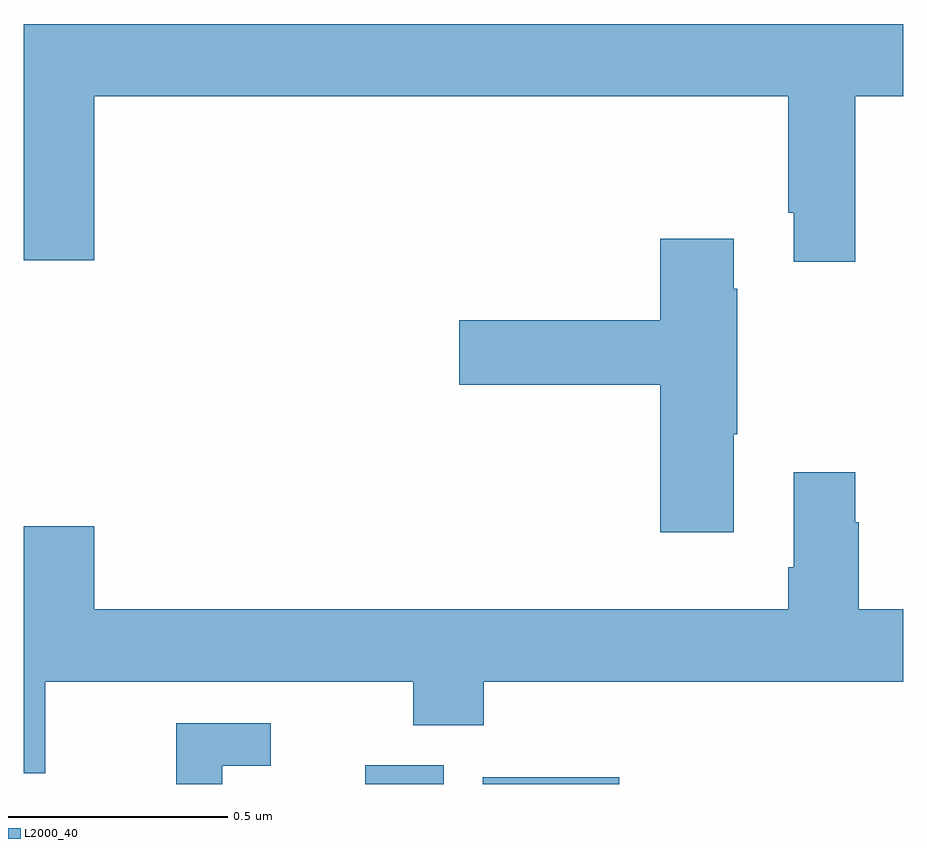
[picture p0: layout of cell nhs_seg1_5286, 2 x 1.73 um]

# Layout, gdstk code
import gdstk
lib = gdstk.Library(unit=1e-6, precision=1e-09)
def R(c, l, rs):  # rectangles x0, y0, x1, y1
    for r in rs: c.add(gdstk.rectangle(r[:2], r[2:], *l))
def P(c, l, *ps):  # polygons
    for p in ps: c.add(gdstk.Polygon(p, *l))
L2000_40 = (2000, 40)

nhs_seg1_5286 = lib.new_cell('nhs_seg1_5286')
R(nhs_seg1_5286, L2000_40, [(177.776,518.199,177.955,518.242), (178.044,518.199,178.354,518.214)])
P(nhs_seg1_5286, L2000_40, [(178.891,519.764),(179,519.764),(179,519.928),(177,519.928),(177,519.39),(177.16,519.39),(177.16,519.764),(178.739,519.764),(178.739,519.499),(178.751,519.499),(178.751,519.387),(178.891,519.387)],
  [(178.615,518.995),(178.623,518.995),(178.623,519.326),(178.615,519.326),(178.615,519.439),(178.448,519.439),(178.448,519.254),(177.99,519.254),(177.99,519.107),(178.448,519.107),(178.448,518.772),(178.615,518.772)],
  [(177.049,518.432),(177.886,518.432),(177.886,518.333),(178.046,518.333),(178.046,518.432),(179,518.432),(179,518.596),(178.899,518.596),(178.899,518.795),(178.891,518.795),(178.891,518.908),(178.751,518.908),(178.751,518.692),(178.739,518.692),(178.739,518.596),(177.16,518.596),(177.16,518.785),(177,518.785),(177,518.224),(177.049,518.224)],
  [(177.451,518.241),(177.562,518.241),(177.562,518.337),(177.347,518.337),(177.347,518.199),(177.451,518.199)])

lib.write_gds('nhs_seg1_5286.gds')
